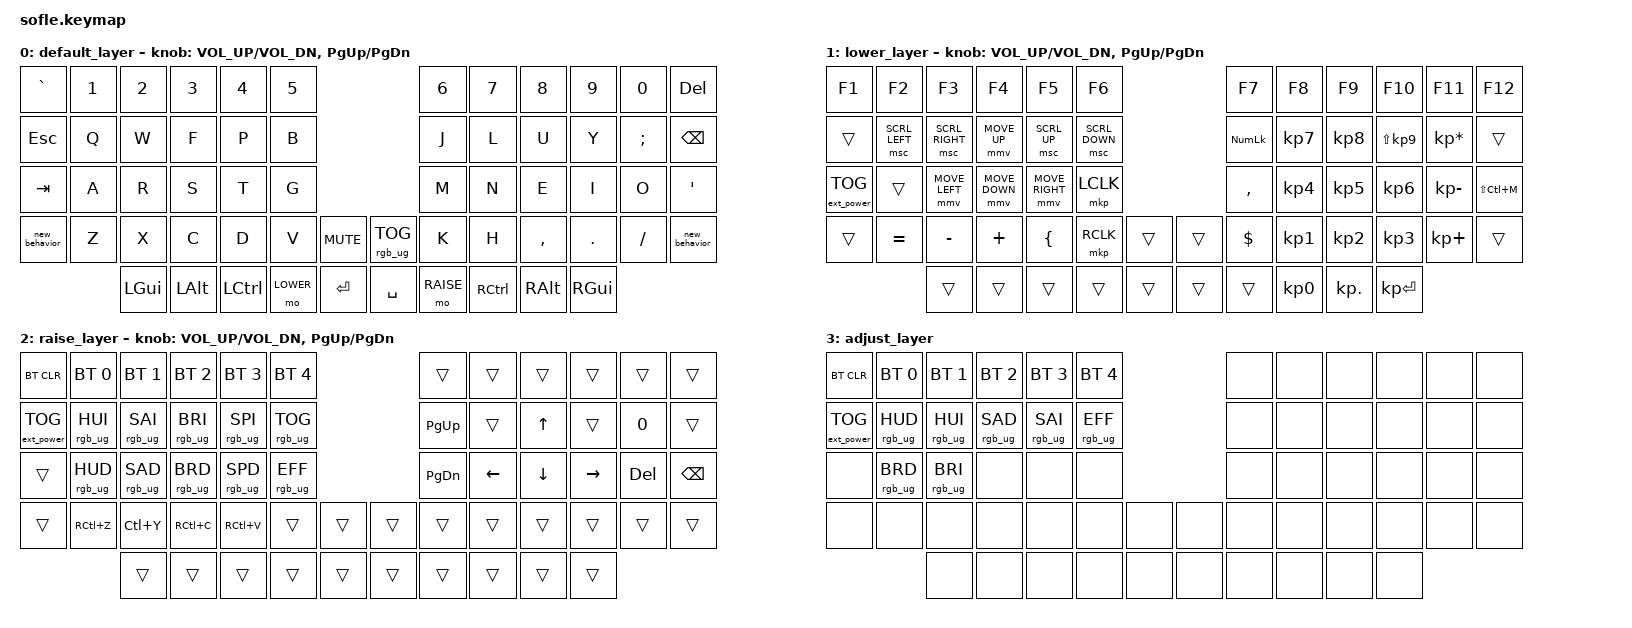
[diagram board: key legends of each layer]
/*
 * Copyright (c) 2020 The ZMK Contributors
 *
 * SPDX-License-Identifier: MIT
 */

#include <behaviors.dtsi>
#include <dt-bindings/zmk/bt.h>
#include <dt-bindings/zmk/ext_power.h>
#include <dt-bindings/zmk/keys.h>
#include <dt-bindings/zmk/pointing.h>
#include <dt-bindings/zmk/rgb.h>
#include <input/processors.dtsi>

#define BASE 0
#define LOWER 1
#define RAISE 2
#define ADJUST 3

/ {
    // Activate ADJUST layer by pressing raise and lower

    conditional_layers {
        compatible = "zmk,conditional-layers";

        adjust_layer {
            if-layers = <LOWER RAISE>;
            then-layer = <ADJUST>;
        };
    };

    behaviors {
        new_behavior: new_behavior {
            compatible = "zmk,behavior-caps-word";
            label = "NEW_BEHAVIOR";
            #binding-cells = <0>;
            continue-list = <LSHFT RSHFT>;
            mods = <(MOD_LSFT|MOD_RSFT)>;
        };
    };

    keymap {
        compatible = "zmk,keymap";

        default_layer {
            // ------------------------------------------------------------------------------------------------------------
            // |   `   |  1  |  2  |  3   |  4   |  5   |                   |  6   |  7    |  8    |  9   |   0   |       |
            // |  ESC  |  Q  |  W  |  E   |  R   |  T   |                   |  Y   |  U    |  I    |  O   |   P   | BKSPC |
            // |  TAB  |  A  |  S  |  D   |  F   |  G   |                   |  H   |  J    |  K    |  L   |   ;   |   '   |
            // | SHIFT |  Z  |  X  |  C   |  V   |  B   |  MUTE  |  |       |  N   |  M    |  ,    |  .   |   /   | SHIFT |
            //               | GUI | ALT  | CTRL | LOWER|  ENTER |  | SPACE | RAISE| CTRL  | ALT   | GUI  |

            bindings = <
&kp GRAVE      &kp N1  &kp N2    &kp N3    &kp N4     &kp N5                                    &kp N6     &kp N7     &kp N8     &kp N9    &kp N0         &kp DELETE
&kp ESC        &kp Q   &kp W     &kp F     &kp P      &kp B                                     &kp J      &kp L      &kp U      &kp Y     &kp SEMICOLON  &kp BACKSPACE
&kp TAB        &kp A   &kp R     &kp S     &kp T      &kp G                                     &kp M      &kp N      &kp E      &kp I     &kp O          &kp SQT
&new_behavior  &kp Z   &kp X     &kp C     &kp D      &kp V      &kp C_MUTE    &rgb_ug RGB_TOG  &kp K      &kp H      &kp COMMA  &kp DOT   &kp FSLH       &new_behavior
                       &kp LGUI  &kp LALT  &kp LCTRL  &mo LOWER  &kp RET       &kp SPACE        &mo RAISE  &kp RCTRL  &kp RALT   &kp RGUI
            >;

            sensor-bindings = <&inc_dec_kp C_VOL_UP C_VOL_DN &inc_dec_kp PG_UP PG_DN>;
        };

        lower_layer {
            // TODO: Some binds are waiting for shifted keycode support.
            // ------------------------------------------------------------------------------------------------------------
            // |       |  F1 |  F2 |  F3  |  F4  |  F5  |                   |  F6  |  F7   |  F8   |  F9  |  F10  |  F11  |
            // |   `   |  1  |  2  |  3   |  4   |  5   |                   |  6   |  7    |  8    |  9   |   0   |  F12  |
            // |       |  !  |  @  |  #   |  $   |  %   |                   |  ^   |  &    |  *    |  (   |   )   |   |   |
            // |       |  =  |  -  |  +   |  {   |  }   |        |  |       |  [   |  ]    |  ;    |  :   |   \   |       |
            //               |     |      |      |      |        |  |       |      |       |       |      |

            bindings = <
&kp F1             &kp F2          &kp F3           &kp F4          &kp F5           &kp F6                            &kp F7          &kp F8           &kp F9           &kp F10              &kp F11          &kp F12
&trans             &msc SCRL_LEFT  &msc SCRL_RIGHT  &mmv MOVE_UP    &msc SCRL_UP     &msc SCRL_DOWN                    &kp KP_NUMLOCK  &kp KP_NUMBER_7  &kp KP_NUMBER_8  &kp LS(KP_NUMBER_9)  &kp KP_MULTIPLY  &trans
&ext_power EP_TOG  &trans          &mmv MOVE_LEFT   &mmv MOVE_DOWN  &mmv MOVE_RIGHT  &mkp LCLK                         &kp COMMA       &kp KP_NUMBER_4  &kp KP_NUMBER_5  &kp KP_NUMBER_6      &kp KP_MINUS     &kp LS(LC(M))
&trans             &kp EQUAL       &kp MINUS        &kp PLUS        &kp LBRC         &mkp RCLK       &trans    &trans  &kp DOLLAR      &kp KP_NUMBER_1  &kp KP_NUMBER_2  &kp KP_NUMBER_3      &kp KP_PLUS      &trans
                                   &trans           &trans          &trans           &trans          &trans    &trans  &trans          &kp KP_N0        &kp KP_DOT       &kp KP_ENTER
            >;

            sensor-bindings = <&inc_dec_kp C_VOL_UP C_VOL_DN &inc_dec_kp PG_UP PG_DN>;
        };

        raise_layer {
            // ------------------------------------------------------------------------------------------------------------
            // | BTCLR | BT1  | BT2  |  BT3  |  BT4  |  BT5 |                |      |      |       |      |       |       |
            // |       | INS  | PSCR | GUI   |       |      |                | PGUP |      |   ^   |      |       |       |
            // |       | ALT  | CTRL | SHIFT |       | CAPS |                | PGDN |   <- |   v   |  ->  |  DEL  | BKSPC |
            // |       | UNDO | CUT  | COPY  | PASTE |      |      |  |      |      |      |       |      |       |       |
            //                |      |       |       |      |      |  |      |      |      |       |      |

            bindings = <
&bt BT_CLR         &bt BT_SEL 0     &bt BT_SEL 1     &bt BT_SEL 2     &bt BT_SEL 3     &bt BT_SEL 4                       &trans     &trans    &trans    &trans     &trans   &trans
&ext_power EP_TOG  &rgb_ug RGB_HUI  &rgb_ug RGB_SAI  &rgb_ug RGB_BRI  &rgb_ug RGB_SPI  &rgb_ug RGB_TOG                    &kp PG_UP  &trans    &kp UP    &trans     &kp N0   &trans
&trans             &rgb_ug RGB_HUD  &rgb_ug RGB_SAD  &rgb_ug RGB_BRD  &rgb_ug RGB_SPD  &rgb_ug RGB_EFF                    &kp PG_DN  &kp LEFT  &kp DOWN  &kp RIGHT  &kp DEL  &kp BSPC
&trans             &kp RC(Z)        &kp LC(Y)        &kp RC(C)        &kp RC(V)        &trans           &trans    &trans  &trans     &trans    &trans    &trans     &trans   &trans
                                    &trans           &trans           &trans           &trans           &trans    &trans  &trans     &trans    &trans    &trans
            >;

            sensor-bindings = <&inc_dec_kp C_VOL_UP C_VOL_DN &inc_dec_kp PG_UP PG_DN>;
        };

        adjust_layer {
            // ----------------------------------------------------------------------------------------------------------------------------
            // | BTCLR  |  BT1    |  BT2    |   BT3   |   BT4   |   BT5   |                  |      |      |       |      |       |       |
            // | EXTPWR | RGB_HUD | RGB_HUI | RGB_SAD | RGB_SAI | RGB_EFF |                  |      |      |       |      |       |       |
            // |        | RGB_BRD | RGB_BRI |         |         |         |                  |      |      |       |      |       |       |
            // |        |         |         |         |         |         | RGB_TOG | |      |      |      |       |      |       |       |
            //                    |         |         |         |         |         | |      |      |      |       |      |

            bindings = <
&bt BT_CLR         &bt BT_SEL 0     &bt BT_SEL 1     &bt BT_SEL 2     &bt BT_SEL 3     &bt BT_SEL 4                     &none  &none  &none  &none  &none  &none
&ext_power EP_TOG  &rgb_ug RGB_HUD  &rgb_ug RGB_HUI  &rgb_ug RGB_SAD  &rgb_ug RGB_SAI  &rgb_ug RGB_EFF                  &none  &none  &none  &none  &none  &none
&none              &rgb_ug RGB_BRD  &rgb_ug RGB_BRI  &none            &none            &none                            &none  &none  &none  &none  &none  &none
&none              &none            &none            &none            &none            &none            &none    &none  &none  &none  &none  &none  &none  &none
                                    &none            &none            &none            &none            &none    &none  &none  &none  &none  &none
            >;
        };

        extra1 { status = "reserved"; };

        extra2 { status = "reserved"; };

        extra3 { status = "reserved"; };

        extra4 { status = "reserved"; };
    };
};
